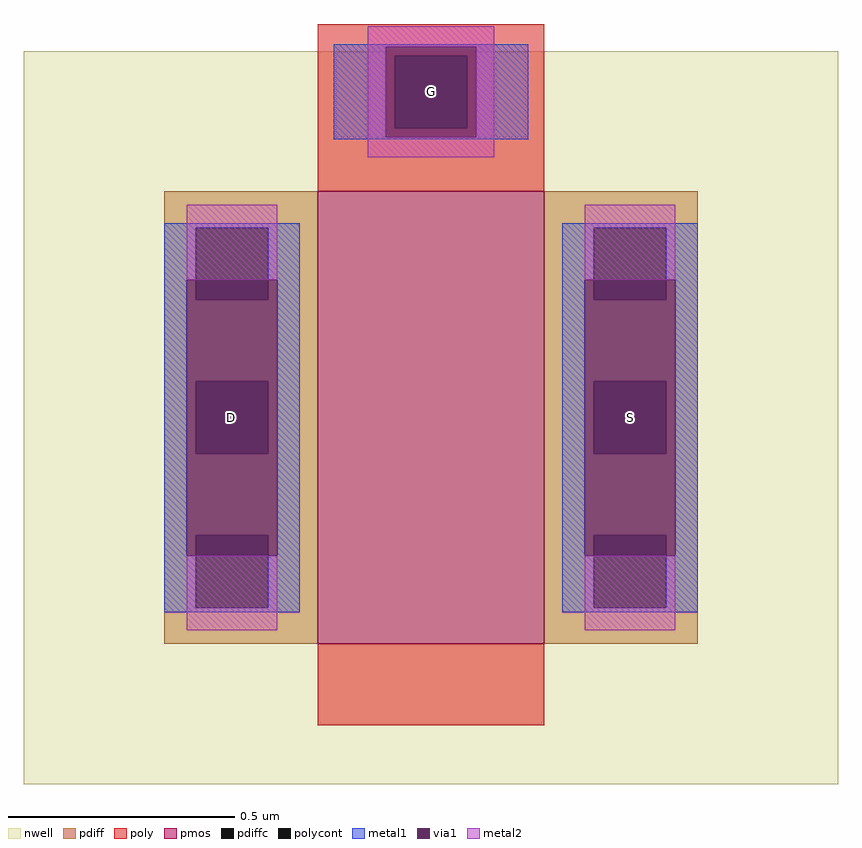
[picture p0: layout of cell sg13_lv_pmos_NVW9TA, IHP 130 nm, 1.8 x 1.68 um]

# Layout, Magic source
magic
tech ihp-sg13g2
magscale 1 2
<< nwell >>
rect -180 -181 180 143
<< pmos >>
rect -50 -119 50 81
<< pdiff >>
rect -118 65 -50 81
rect -118 33 -104 65
rect -72 33 -50 65
rect -118 -3 -50 33
rect -118 -35 -104 -3
rect -72 -35 -50 -3
rect -118 -71 -50 -35
rect -118 -103 -104 -71
rect -72 -103 -50 -71
rect -118 -119 -50 -103
rect 50 65 118 81
rect 50 33 72 65
rect 104 33 118 65
rect 50 -3 118 33
rect 50 -35 72 -3
rect 104 -35 118 -3
rect 50 -71 118 -35
rect 50 -103 72 -71
rect 104 -103 118 -71
rect 50 -119 118 -103
<< pdiffc >>
rect -104 33 -72 65
rect -104 -35 -72 -3
rect -104 -103 -72 -71
rect 72 33 104 65
rect 72 -35 104 -3
rect 72 -103 104 -71
<< poly >>
rect -50 141 50 155
rect -50 109 -16 141
rect 16 109 50 141
rect -50 81 50 109
rect -50 -155 50 -119
<< polycont >>
rect -16 109 16 141
<< metal1 >>
rect -43 145 43 146
rect -43 105 -20 145
rect 20 105 43 145
rect -43 104 43 105
rect -118 65 -58 67
rect -118 42 -104 65
rect -72 42 -58 65
rect -118 -80 -108 42
rect -68 -80 -58 42
rect -118 -103 -104 -80
rect -72 -103 -58 -80
rect -118 -105 -58 -103
rect 58 65 118 67
rect 58 42 72 65
rect 104 42 118 65
rect 58 -80 68 42
rect 108 -80 118 42
rect 58 -103 72 -80
rect 104 -103 118 -80
rect 58 -105 118 -103
<< via1 >>
rect -20 141 20 145
rect -20 109 -16 141
rect -16 109 16 141
rect 16 109 20 141
rect -20 105 20 109
rect -108 33 -104 42
rect -104 33 -72 42
rect -72 33 -68 42
rect -108 -3 -68 33
rect -108 -35 -104 -3
rect -104 -35 -72 -3
rect -72 -35 -68 -3
rect -108 -71 -68 -35
rect -108 -80 -104 -71
rect -104 -80 -72 -71
rect -72 -80 -68 -71
rect 68 33 72 42
rect 72 33 104 42
rect 104 33 108 42
rect 68 -3 108 33
rect 68 -35 72 -3
rect 72 -35 104 -3
rect 104 -35 108 -3
rect 68 -71 108 -35
rect 68 -80 72 -71
rect 72 -80 104 -71
rect 104 -80 108 -71
<< metal2 >>
rect -28 145 28 154
rect -28 105 -20 145
rect 20 105 28 145
rect -28 96 28 105
rect -108 42 -68 75
rect -108 -113 -68 -80
rect 68 42 108 75
rect 68 -113 108 -80
<< labels >>
rlabel metal1 s -88 -19 -88 -19 4 D
rlabel metal1 s 88 -19 88 -19 4 S
rlabel metal1 s 0 125 0 125 4 G
<< end >>
